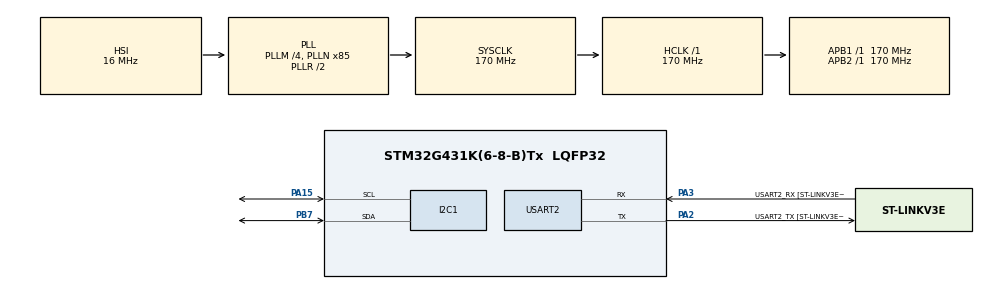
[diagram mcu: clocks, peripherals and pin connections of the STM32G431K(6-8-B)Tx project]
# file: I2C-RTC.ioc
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I2C1.Timing=0x40B285C2
Mcu.Family=STM32G4
Mcu.Name=STM32G431K(6-8-B)Tx
Mcu.Package=LQFP32
NVIC.PriorityGroup=NVIC_PRIORITYGROUP_4
PA13.GPIO_Label=T_SWDIO
PA13.Mode=Serial_Wire
PA13.Signal=SYS_JTMS-SWDIO
PA14.GPIO_Label=T_SWCLK
PA14.Mode=Serial_Wire
PA14.Signal=SYS_JTCK-SWCLK
PA15.Mode=I2C
PA15.Signal=I2C1_SCL
PA2.GPIO_Label=USART2_TX [ST-LINKV3E_VCP_RX]
PA2.Mode=Asynchronous
PA2.Signal=USART2_TX
PA3.GPIO_Label=USART2_RX [ST-LINKV3E_VCP_TX]
PA3.Mode=Asynchronous
PA3.Signal=USART2_RX
PB3.GPIO_Label=T_SWO
PB3.Signal=SYS_JTDO-SWO
PB7.Mode=I2C
PB7.Signal=I2C1_SDA
ProjectManager.HeapSize=0x200
ProjectManager.StackSize=0x400
ProjectManager.TargetToolchain=STM32CubeIDE
RCC.ADC12Freq_Value=170000000
RCC.AHBFreq_Value=170000000
RCC.APB1Freq_Value=170000000
RCC.APB1TimFreq_Value=170000000
RCC.APB2Freq_Value=170000000
RCC.APB2TimFreq_Value=170000000
RCC.CortexFreq_Value=170000000
RCC.EXTERNAL_CLOCK_VALUE=12288000
RCC.HCLKFreq_Value=170000000
RCC.HSE_VALUE=8000000
RCC.HSI48_VALUE=48000000
RCC.HSI_VALUE=16000000
RCC.LSE_VALUE=32768
RCC.PLLM=RCC_PLLM_DIV4
RCC.PLLN=85
RCC.SYSCLKFreq_VALUE=170000000
RCC.SYSCLKSource=RCC_SYSCLKSOURCE_PLLCLK
RCC.USBFreq_Value=170000000
RCC.VCOOutputFreq_Value=340000000
USART2.VirtualMode-Asynchronous=VM_ASYNC
VP_SYS_VS_DBSignals.Mode=DisableDeadBatterySignals
board=NUCLEO-G431KB

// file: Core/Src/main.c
/* USER CODE BEGIN Header */
/**
  ******************************************************************************
  * @file           : main.c
  * @brief          : Main program body
  ******************************************************************************
  * @attention
  *
  * Copyright (c) 2025 STMicroelectronics.
  * All rights reserved.
  *
  * This software is licensed under terms that can be found in the LICENSE file
  * in the root directory of this software component.
  * If no LICENSE file comes with this software, it is provided AS-IS.
  *
  ******************************************************************************
  */
/* USER CODE END Header */
#include "main.h"

/* USER CODE BEGIN Includes */
#include <stdio.h>
#include "myprintf.h"
/* USER CODE END Includes */

/* USER CODE BEGIN PD */
#define LM75A_ADDRESS 0x90  // 0x48 << 1 (A2=A1=A0=GND)
#define LM75A_TEMP_REG 0x00
/* USER CODE END PD */

I2C_HandleTypeDef hi2c1;

UART_HandleTypeDef huart2;

void SystemClock_Config(void);
static void MX_GPIO_Init(void);
static void MX_I2C1_Init(void);
static void MX_USART2_UART_Init(void);

/* USER CODE BEGIN 0 */

// Read LM75A temperature
float LM75A_ReadTemperature(void) {
    uint8_t data[2];
    int16_t temp_raw;
    float temperature;

    // Read 2 bytes from temperature register
    HAL_I2C_Mem_Read(&hi2c1, LM75A_ADDRESS, LM75A_TEMP_REG,
                     I2C_MEMADD_SIZE_8BIT, data, 2, 100);

    // Combine bytes: MSB first, then LSB
    temp_raw = (int16_t)((data[0] << 8) | data[1]);

    // Shift right by 5 to get 11-bit value (bits D15-D5)
    temp_raw = temp_raw >> 5;

    // Convert to temperature: each bit = 0.125°C
    temperature = (float)temp_raw * 0.125f;

    return temperature;
}

/* USER CODE END 0 */

int main(void)
{

  /* MCU Configuration--------------------------------------------------------*/

  /* Reset of all peripherals, Initializes the Flash interface and the Systick. */
  HAL_Init();

  /* Configure the system clock */
  SystemClock_Config();

  /* Initialize all configured peripherals */
  MX_GPIO_Init();
  MX_I2C1_Init();
  MX_USART2_UART_Init();
  /* USER CODE BEGIN 2 */
  RetargetInit(&huart2);

  printf("LM75A Temperature Sensor Initialized\r\n");
  HAL_Delay(1000);
  /* USER CODE END 2 */

  /* Infinite loop */
  /* USER CODE BEGIN WHILE */
  float temperature;

  while (1)
  {
    temperature = LM75A_ReadTemperature();

    printf("Temperature: %.1f°C\r\n", temperature);

    HAL_Delay(1000);

    /* USER CODE END WHILE */

  }
}

void SystemClock_Config(void)
{
  RCC_OscInitTypeDef RCC_OscInitStruct = {0};
  RCC_ClkInitTypeDef RCC_ClkInitStruct = {0};

  /** Configure the main internal regulator output voltage
  */
  HAL_PWREx_ControlVoltageScaling(PWR_REGULATOR_VOLTAGE_SCALE1_BOOST);

  /** Initializes the RCC Oscillators according to the specified parameters
  * in the RCC_OscInitTypeDef structure.
  */
  RCC_OscInitStruct.OscillatorType = RCC_OSCILLATORTYPE_HSI;
  RCC_OscInitStruct.HSIState = RCC_HSI_ON;
  RCC_OscInitStruct.HSICalibrationValue = RCC_HSICALIBRATION_DEFAULT;
  RCC_OscInitStruct.PLL.PLLState = RCC_PLL_ON;
  RCC_OscInitStruct.PLL.PLLSource = RCC_PLLSOURCE_HSI;
  RCC_OscInitStruct.PLL.PLLM = RCC_PLLM_DIV4;
  RCC_OscInitStruct.PLL.PLLN = 85;
  RCC_OscInitStruct.PLL.PLLP = RCC_PLLP_DIV2;
  RCC_OscInitStruct.PLL.PLLQ = RCC_PLLQ_DIV2;
  RCC_OscInitStruct.PLL.PLLR = RCC_PLLR_DIV2;
  if (HAL_RCC_OscConfig(&RCC_OscInitStruct) != HAL_OK)
  {
    Error_Handler();
  }

  /** Initializes the CPU, AHB and APB buses clocks
  */
  RCC_ClkInitStruct.ClockType = RCC_CLOCKTYPE_HCLK|RCC_CLOCKTYPE_SYSCLK
                              |RCC_CLOCKTYPE_PCLK1|RCC_CLOCKTYPE_PCLK2;
  RCC_ClkInitStruct.SYSCLKSource = RCC_SYSCLKSOURCE_PLLCLK;
  RCC_ClkInitStruct.AHBCLKDivider = RCC_SYSCLK_DIV1;
  RCC_ClkInitStruct.APB1CLKDivider = RCC_HCLK_DIV1;
  RCC_ClkInitStruct.APB2CLKDivider = RCC_HCLK_DIV1;

  if (HAL_RCC_ClockConfig(&RCC_ClkInitStruct, FLASH_LATENCY_4) != HAL_OK)
  {
    Error_Handler();
  }
}

static void MX_I2C1_Init(void)
{

  hi2c1.Instance = I2C1;
  hi2c1.Init.Timing = 0x40B285C2;
  hi2c1.Init.OwnAddress1 = 0;
  hi2c1.Init.AddressingMode = I2C_ADDRESSINGMODE_7BIT;
  hi2c1.Init.DualAddressMode = I2C_DUALADDRESS_DISABLE;
  hi2c1.Init.OwnAddress2 = 0;
  hi2c1.Init.OwnAddress2Masks = I2C_OA2_NOMASK;
  hi2c1.Init.GeneralCallMode = I2C_GENERALCALL_DISABLE;
  hi2c1.Init.NoStretchMode = I2C_NOSTRETCH_DISABLE;
  if (HAL_I2C_Init(&hi2c1) != HAL_OK)
  {
    Error_Handler();
  }

  /** Configure Analogue filter
  */
  if (HAL_I2CEx_ConfigAnalogFilter(&hi2c1, I2C_ANALOGFILTER_ENABLE) != HAL_OK)
  {
    Error_Handler();
  }

  /** Configure Digital filter
  */
  if (HAL_I2CEx_ConfigDigitalFilter(&hi2c1, 0) != HAL_OK)
  {
    Error_Handler();
  }

}

static void MX_USART2_UART_Init(void)
{

  huart2.Instance = USART2;
  huart2.Init.BaudRate = 115200;
  huart2.Init.WordLength = UART_WORDLENGTH_8B;
  huart2.Init.StopBits = UART_STOPBITS_1;
  huart2.Init.Parity = UART_PARITY_NONE;
  huart2.Init.Mode = UART_MODE_TX_RX;
  huart2.Init.HwFlowCtl = UART_HWCONTROL_NONE;
  huart2.Init.OverSampling = UART_OVERSAMPLING_16;
  huart2.Init.OneBitSampling = UART_ONE_BIT_SAMPLE_DISABLE;
  huart2.Init.ClockPrescaler = UART_PRESCALER_DIV1;
  huart2.AdvancedInit.AdvFeatureInit = UART_ADVFEATURE_NO_INIT;
  if (HAL_UART_Init(&huart2) != HAL_OK)
  {
    Error_Handler();
  }
  if (HAL_UARTEx_SetTxFifoThreshold(&huart2, UART_TXFIFO_THRESHOLD_1_8) != HAL_OK)
  {
    Error_Handler();
  }
  if (HAL_UARTEx_SetRxFifoThreshold(&huart2, UART_RXFIFO_THRESHOLD_1_8) != HAL_OK)
  {
    Error_Handler();
  }
  if (HAL_UARTEx_DisableFifoMode(&huart2) != HAL_OK)
  {
    Error_Handler();
  }

}

static void MX_GPIO_Init(void)
{

  /* GPIO Ports Clock Enable */
  __HAL_RCC_GPIOA_CLK_ENABLE();
  __HAL_RCC_GPIOB_CLK_ENABLE();

}

void Error_Handler(void)
{
  __disable_irq();
  while (1)
  {
  }
}
